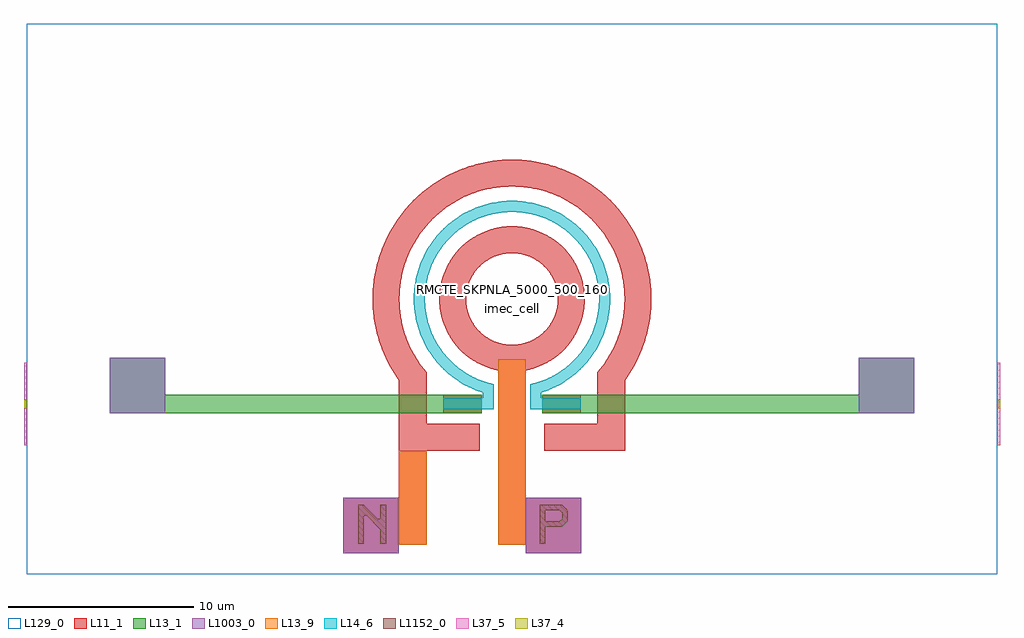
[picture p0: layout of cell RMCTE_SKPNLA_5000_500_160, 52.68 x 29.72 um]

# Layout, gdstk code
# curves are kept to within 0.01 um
import gdstk
lib = gdstk.Library(unit=1e-6, precision=1e-09)
def R(c, l, rs):  # rectangles x0, y0, x1, y1
    for r in rs: c.add(gdstk.rectangle(r[:2], r[2:], *l))
def P(c, l, *ps):  # polygons
    for p in ps: c.add(gdstk.Polygon(p, *l))
L11_1 = (11, 1)
L13_1 = (13, 1)
L13_9 = (13, 9)
L14_6 = (14, 6)
L37_4 = (37, 4)
L37_5 = (37, 5)
L129_0 = (129, 0)
L1003_0 = (1003, 0)
L1152_0 = (1152, 0)

rmcte_skpnla_5000_500_16 = lib.new_cell('RMCTE_SKPNLA_5000_500_160')
R(rmcte_skpnla_5000_500_16, L11_1, [(-3.718,-6.16,-1.638,-5.16), (1.638,-6.16,3.718,-5.16)])
P(rmcte_skpnla_5000_500_16, L11_1, [(0.75,-13.72),(0.75,-13.26),(-0.75,-13.26),(-0.75,-3.853),(-1.082,-3.773),(-1.407,-3.664),(-1.721,-3.528),(-1.963,-3.399),(-2.251,-3.215),(-2.523,-3.007),(-2.727,-2.823),(-2.962,-2.575),(-3.135,-2.362),(-3.329,-2.08),(-3.466,-1.843),(-3.639,-1.47),(-3.753,-1.148),(-3.839,-0.816),(-3.887,-0.546),(-3.92,-0.205),(-3.923,0.137),(-3.887,0.546),(-3.808,0.95),(-3.711,1.278),(-3.557,1.659),(-3.364,2.022),(-3.135,2.362),(-2.917,2.626),(-2.677,2.871),(-2.362,3.135),(-2.08,3.329),(-1.721,3.528),(-1.407,3.664),(-1.016,3.791),(-0.614,3.877),(-0.205,3.92),(0.205,3.92),(0.749,3.853),(1.213,3.733),(1.596,3.586),(1.963,3.399),(2.362,3.135),(2.727,2.823),(3.046,2.475),(-0.043,2.475),(-0.302,2.457),(-0.724,2.367),(-1.085,2.225),(-1.384,2.052),(-1.688,1.81),(-1.868,1.624),(-2.052,1.384),(-2.165,1.2),(-2.295,0.927),(-2.367,0.724),(-2.43,0.472),(-2.466,0.216),(-2.475,-0.043),(-2.457,-0.302),(-2.412,-0.557),(-2.326,-0.846),(-2.225,-1.085),(-2.099,-1.312),(-1.977,-1.489),(-1.81,-1.688),(-1.624,-1.868),(-1.348,-2.076),(-1.085,-2.225),(-0.846,-2.326),(-0.557,-2.412),(-0.302,-2.457),(-0.043,-2.475),(0.302,-2.457),(0.557,-2.412),(0.846,-2.326),(1.085,-2.225),(1.348,-2.076),(1.624,-1.868),(1.868,-1.624),(2.027,-1.42),(2.165,-1.2),(2.311,-0.887),(2.412,-0.557),(2.457,-0.302),(2.475,-0.043),(2.457,0.302),(2.412,0.557),(2.311,0.887),(2.205,1.124),(2.052,1.384),(1.868,1.624),(1.688,1.81),(1.455,2.002),(1.2,2.165),(0.927,2.295),(0.641,2.391),(0.302,2.457),(0.043,2.475),(3.046,2.475),(3.254,2.195),(3.399,1.962),(3.528,1.721),(3.664,1.407),(3.773,1.082),(3.839,0.816),(3.887,0.546),(3.92,0.205),(3.923,-0.137),(3.896,-0.478),(3.839,-0.816),(3.733,-1.213),(3.613,-1.534),(3.466,-1.843),(3.292,-2.138),(3.093,-2.416),(2.871,-2.677),(2.626,-2.917),(2.362,-3.135),(2.08,-3.329),(1.721,-3.528),(1.407,-3.664),(1.082,-3.773),(0.75,-3.853),(0.75,-10.72),(3.75,-10.72),(3.75,-13.72)],
  [(-9.1,-13.72),(-9.1,-10.72),(-6.107,-10.72),(-6.107,-4.396),(-6.382,-3.988),(-6.705,-3.416),(-6.927,-2.94),(-7.157,-2.325),(-7.301,-1.82),(-7.411,-1.307),(-7.484,-0.787),(-7.524,-0.131),(-7.507,0.525),(-7.452,1.047),(-7.361,1.565),(-7.196,2.2),(-7.025,2.697),(-6.82,3.18),(-6.582,3.648),(-6.239,4.208),(-5.848,4.736),(-5.321,5.321),(-4.736,5.848),(-4.208,6.239),(-3.648,6.582),(-2.94,6.927),(-2.574,7.071),(-2.2,7.196),(-1.436,7.387),(-1.047,7.452),(-0.656,7.496),(-0.263,7.52),(0.131,7.524),(0.787,7.484),(1.565,7.361),(1.948,7.269),(2.325,7.157),(2.94,6.927),(3.648,6.582),(4.208,6.239),(4.529,6.01),(4.837,5.764),(5.132,5.503),(5.413,5.227),(5.679,4.937),(5.93,4.633),(6.382,3.988),(6.582,3.648),(6.763,3.299),(6.927,2.94),(7.071,2.574),(7.196,2.2),(7.301,1.82),(7.387,1.436),(7.452,1.047),(7.515,0.394),(7.515,-0.394),(7.452,-1.047),(7.387,-1.436),(7.301,-1.82),(7.115,-2.45),(6.977,-2.819),(6.82,-3.18),(6.517,-3.763),(6.107,-4.396),(6.107,-8.185),(1.75,-8.185),(1.75,-6.735),(4.607,-6.735),(4.607,-3.96),(4.915,-3.571),(5.207,-3.129),(5.413,-2.758),(5.633,-2.276),(5.81,-1.776),(5.919,-1.367),(6.016,-0.845),(6.067,-0.318),(6.074,0.106),(6.042,0.635),(5.983,1.055),(5.895,1.47),(5.778,1.877),(5.633,2.276),(5.413,2.758),(5.207,3.129),(4.915,3.571),(4.585,3.986),(4.296,4.296),(3.905,4.654),(3.484,4.976),(3.038,5.261),(2.567,5.506),(2.078,5.709),(1.572,5.868),(1.055,5.983),(0.529,6.052),(0,6.075),(-0.529,6.052),(-1.055,5.983),(-1.572,5.868),(-2.078,5.709),(-2.471,5.55),(-2.945,5.313),(-3.309,5.095),(-3.74,4.787),(-4.065,4.515),(-4.443,4.143),(-4.787,3.74),(-5.036,3.397),(-5.261,3.037),(-5.506,2.567),(-5.672,2.177),(-5.81,1.776),(-5.919,1.367),(-6.016,0.845),(-6.067,0.318),(-6.074,-0.106),(-6.042,-0.635),(-5.963,-1.159),(-5.84,-1.674),(-5.672,-2.177),(-5.46,-2.663),(-5.207,-3.129),(-4.915,-3.571),(-4.607,-3.96),(-4.607,-6.735),(-1.75,-6.735),(-1.75,-8.185),(-4.607,-8.185),(-4.607,-13.26),(-6.1,-13.26),(-6.1,-13.72)])
P(rmcte_skpnla_5000_500_16, L13_1, [(-21.71,-6.16),(-21.71,-3.16),(-18.71,-3.16),(-18.71,-5.16),(-1.638,-5.16),(-1.638,-6.16)],
  [(1.638,-6.16),(1.638,-5.16),(18.71,-5.16),(18.71,-3.16),(21.71,-3.16),(21.71,-6.16)])
R(rmcte_skpnla_5000_500_16, L13_9, [(-6.107,-13.26,-4.607,-8.185), (-0.75,-13.26,0.75,-3.25)])
P(rmcte_skpnla_5000_500_16, L14_6, [(-3.718,-5.96),(-3.718,-5.36),(-1.577,-5.36),(-1.577,-5.06),(-2.156,-4.842),(-2.73,-4.543),(-3.19,-4.233),(-3.682,-3.813),(-4.06,-3.407),(-4.445,-2.887),(-4.764,-2.323),(-4.98,-1.813),(-5.143,-1.282),(-5.26,-0.646),(-5.293,-0.277),(-5.3,0),(-5.271,0.554),(-5.184,1.102),(-5.095,1.461),(-5.011,1.726),(-4.764,2.323),(-4.495,2.809),(-4.176,3.263),(-3.813,3.682),(-3.407,4.06),(-3.04,4.342),(-2.65,4.59),(-2.156,4.842),(-1.638,5.041),(-1.192,5.164),(-0.738,5.248),(-0.185,5.297),(0.277,5.293),(0.829,5.235),(1.372,5.119),(1.899,4.948),(2.323,4.764),(2.809,4.495),(3.335,4.119),(3.748,3.748),(4.119,3.335),(4.495,2.809),(4.803,2.24),(5.041,1.638),(5.203,1.011),(5.28,0.462),(5.3,0),(5.28,-0.462),(5.235,-0.829),(5.143,-1.282),(5.011,-1.726),(4.842,-2.156),(4.68,-2.488),(4.394,-2.964),(4.119,-3.335),(3.813,-3.682),(3.546,-3.939),(3.19,-4.233),(2.809,-4.495),(2.488,-4.68),(2.071,-4.879),(1.577,-5.06),(1.577,-5.36),(3.718,-5.36),(3.718,-5.96),(0.977,-5.96),(0.977,-4.597),(1.452,-4.47),(1.912,-4.294),(2.421,-4.029),(2.829,-3.754),(3.265,-3.381),(3.547,-3.083),(3.85,-2.696),(4.111,-2.279),(4.294,-1.912),(4.495,-1.374),(4.614,-0.897),(4.682,-0.41),(4.699,0.082),(4.665,0.573),(4.58,1.057),(4.444,1.53),(4.294,1.912),(4.15,2.207),(3.986,2.491),(3.754,2.829),(3.493,3.145),(3.265,3.381),(2.958,3.653),(2.696,3.85),(2.421,4.029),(2.134,4.188),(1.761,4.358),(1.374,4.495),(1.057,4.58),(0.735,4.642),(0.328,4.689),(0,4.7),(-0.328,4.689),(-0.735,4.642),(-1.057,4.58),(-1.374,4.495),(-1.761,4.358),(-2.134,4.188),(-2.421,4.029),(-2.696,3.85),(-2.958,3.653),(-3.265,3.381),(-3.493,3.145),(-3.754,2.829),(-3.986,2.491),(-4.15,2.207),(-4.294,1.912),(-4.444,1.53),(-4.58,1.057),(-4.665,0.573),(-4.699,0.082),(-4.682,-0.41),(-4.614,-0.897),(-4.495,-1.374),(-4.294,-1.912),(-4.111,-2.279),(-3.85,-2.696),(-3.547,-3.083),(-3.265,-3.381),(-2.829,-3.754),(-2.421,-4.029),(-1.912,-4.294),(-1.452,-4.47),(-0.977,-4.597),(-0.977,-5.96)])
R(rmcte_skpnla_5000_500_16, L37_4, [(-26.342,-5.885,-26.192,-5.435), (26.192,-5.885,26.342,-5.435)])
R(rmcte_skpnla_5000_500_16, L37_5, [(-26.342,-7.885,-26.192,-3.435), (26.192,-7.885,26.342,-3.435)])
R(rmcte_skpnla_5000_500_16, L129_0, [(-26.192,-14.86,26.192,14.86)])
R(rmcte_skpnla_5000_500_16, L1003_0, [(-9.1,-13.72,-6.1,-10.72), (0.75,-13.72,3.75,-10.72), (-21.71,-6.16,-18.71,-3.16), (18.71,-6.16,21.71,-3.16), (-26.342,-5.885,-26.192,-5.435), (26.192,-5.885,26.342,-5.435)])
P(rmcte_skpnla_5000_500_16, L1152_0, [(-8.3,-13.2),(-8.3,-11.1),(-8,-11.1),(-7.25,-11.85),(-7.1,-11.85),(-7.1,-11.1),(-6.8,-11.1),(-6.8,-13.2),(-7.1,-13.2),(-7.1,-12.45),(-7.85,-11.7),(-8,-11.7),(-8,-13.2)],
  [(1.5,-13.2),(1.5,-11.1),(2.7,-11.1),(3,-11.4),(3,-12),(2.7,-12.3),(1.8,-12.3),(1.8,-12),(2.55,-12),(2.7,-11.85),(2.7,-11.55),(2.55,-11.4),(1.8,-11.4),(1.8,-13.2)])
rmcte_skpnla_5000_500_16.add(gdstk.Label('RMCTE_SKPNLA_5000_500_160', (0,0.5), layer=1002, texttype=0))
rmcte_skpnla_5000_500_16.add(gdstk.Label('ISIPP50G_2_3_0', (0,0), layer=1002, texttype=0))
rmcte_skpnla_5000_500_16.add(gdstk.Label('imec_cell', (0,-0.5), layer=1002, texttype=0))

lib.write_gds('RMCTE_SKPNLA_5000_500_160.gds')
